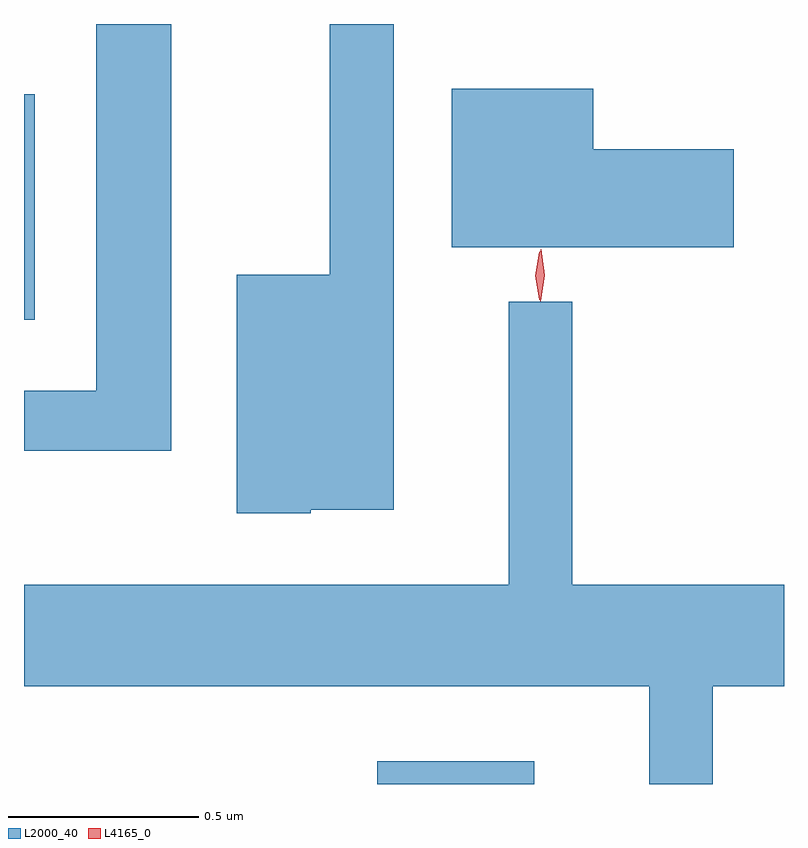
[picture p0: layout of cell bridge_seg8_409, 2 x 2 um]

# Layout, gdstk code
import gdstk
lib = gdstk.Library(unit=1e-6, precision=1e-09)
def R(c, l, rs):  # rectangles x0, y0, x1, y1
    for r in rs: c.add(gdstk.rectangle(r[:2], r[2:], *l))
def P(c, l, *ps):  # polygons
    for p in ps: c.add(gdstk.Polygon(p, *l))
L2000_40 = (2000, 40)
L4165_0 = (4165, 0)

bridge_seg8_409 = lib.new_cell('bridge_seg8_409')
R(bridge_seg8_409, L2000_40, [(806.556,1869.459,806.969,1869.519), (805.626,1870.681,805.654,1871.274)])
P(bridge_seg8_409, L2000_40, [(806.38,1870.181),(806.599,1870.181),(806.599,1871.459),(806.431,1871.459),(806.431,1870.799),(806.186,1870.799),(806.186,1870.171),(806.38,1870.171)],
  [(806.014,1871.459),(805.816,1871.459),(805.816,1870.494),(805.626,1870.494),(805.626,1870.336),(806.014,1870.336)],
  [(807.494,1871.129),(807.124,1871.129),(807.124,1871.289),(806.751,1871.289),(806.751,1870.871),(807.494,1870.871)],
  [(807.439,1869.716),(807.626,1869.716),(807.626,1869.984),(807.069,1869.984),(807.069,1870.728),(806.901,1870.728),(806.901,1869.984),(805.626,1869.984),(805.626,1869.716),(807.271,1869.716),(807.271,1869.459),(807.439,1869.459)])
P(bridge_seg8_409, L4165_0, [(806.982,1870.733),(806.972,1870.796),(806.982,1870.859),(806.982,1870.86),(806.983,1870.859),(806.992,1870.796),(806.983,1870.733),(806.983,1870.733)],
  [(806.985,1870.73),(806.985,1870.73),(806.976,1870.798),(806.986,1870.866),(806.987,1870.866),(806.987,1870.866),(806.996,1870.798),(806.986,1870.73)])

lib.write_gds('bridge_seg8_409.gds')
